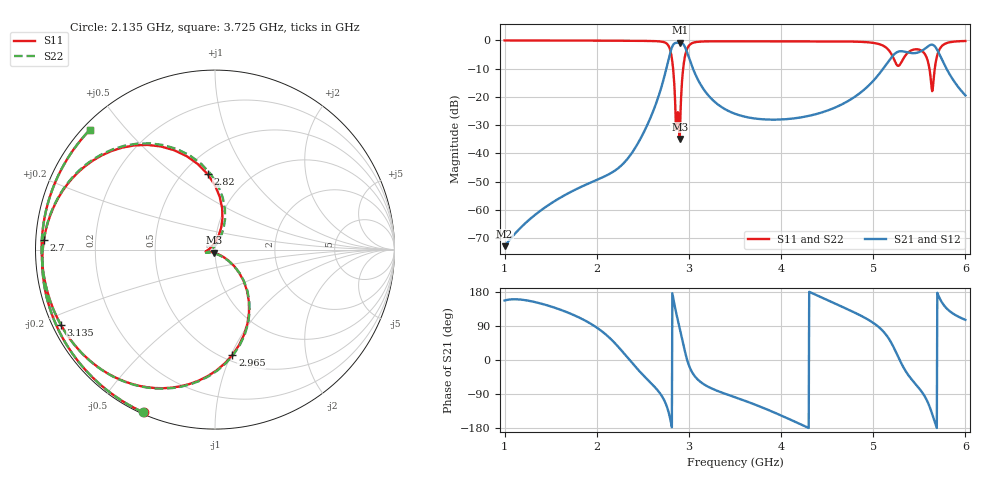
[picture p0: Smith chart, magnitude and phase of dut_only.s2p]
! Created Fri Aug  9 08:57:00 2024
! List of port names and net name(s): example Port n = <port_name> <net_name1> <net_name2> ...
! Port 1 = P1 P1
! Port 2 = P2 P2
# hz S ri R 50
! 2 Port Network Data from data block
! freq  reS11  imS11  reS21  imS21  reS12  imS12  reS22  imS22
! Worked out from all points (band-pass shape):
!   1001 points, 1 GHz to 6 GHz, reference 50 ohm
!   highest |S21| = -0.74 dB at 2.9 GHz (marker M1); lowest = -72.9 dB at 1 GHz (marker M2)
!   |S21| within 3 dB of the highest: 2.802 GHz to 2.975 GHz (172.7 MHz wide, 5.98 % of centre); 5.523 GHz to 5.701 GHz (177.3 MHz wide, 3.16 % of centre)
!   lowest |S11| = -34.9 dB at 2.9 GHz (marker M3), VSWR 1.04, Z = 49.2 - j1.62 ohm
!   |S11| at or under -10 dB: 2.828 GHz to 2.938 GHz (109.2 MHz wide, 3.79 % of centre); 5.61 GHz to 5.668 GHz (58.09 MHz wide, 1.03 % of centre)
!   |S22| runs from -36.3 to 0.0 dB; largest |S21 - S12| = 0
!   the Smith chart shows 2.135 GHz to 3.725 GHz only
!   S11 on the Smith chart (normalised r, x): 2.135 GHz: 0.01, -0.65; 2.7 GHz: 0.02, +0.03; 2.82 GHz: 0.65, +0.67; 2.965 GHz: 0.56, -1.01; 3.135 GHz: 0.02, -0.23; 3.725 GHz: 0.02, +0.40
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1e9  0.6992 -0.7139  -0.000209 8.88e-05  -0.000209 8.88e-05  0.6989 -0.7142
1.835e9  -0.0414 -0.9938  -0.000835 0.00243  -0.000835 0.00243  -0.0426 -0.9937
2.135e9  -0.3973 -0.9075  0.00219 0.0037  0.00219 0.0037  -0.399 -0.9068
2.41e9  -0.7286 -0.6629  0.0116 -0.00318  0.0116 -0.00318  -0.7307 -0.6606
2.67e9  -0.9621 -0.0813  0.0128 -0.1012  0.0128 -0.1012  -0.9627 -0.0736
2.7e9  -0.9531 0.0545  -0.00725 -0.1461  -0.00725 -0.1461  -0.9524 0.0637
2.78e9  -0.578 0.5488  -0.3508 -0.3136  -0.3508 -0.3136  -0.5662 0.5601
2.82e9  -0.0412 0.4203  -0.7848 0.0536  -0.7848 0.0536  -0.023 0.4201
2.875e9  -0.0494 -0.00898  -0.3145 0.857  -0.3145 0.857  -0.0455 -0.017
2.9e9  -0.00742 -0.0165  0.0884 0.9138  0.0884 0.9138  -0.0071 -0.0205
2.965e9  0.0968 -0.5874  0.6933 0.1755  0.6933 0.1755  0.1022 -0.5864
3.135e9  -0.8578 -0.4203  0.0796 -0.1356  0.0796 -0.1356  -0.8559 -0.4244
3.5e9  -0.8973 0.3574  -0.00726 -0.0497  -0.00726 -0.0497  -0.8982 0.3556
3.725e9  -0.6966 0.6678  -0.0196 -0.0363  -0.0196 -0.0363  -0.6977 0.6669
4.335e9  0.1072 0.9594  -0.0474 0.0028  -0.0474 0.0028  0.1068 0.9596
4.94e9  0.7849 0.4959  -0.0452 0.1462  -0.0452 0.1462  0.7854 0.4953
5.17e9  0.6664 0.00716  0.2447 0.3626  0.2447 0.3626  0.6656 0.00513
5.31e9  0.3416 0.2541  0.6312 -0.1264  0.6312 -0.1264  0.3398 0.2541
5.575e9  0.5128 -0.0658  -0.1676 -0.7247  -0.1676 -0.7247  0.5116 -0.0707
5.64e9  0.1099 0.0624  -0.6703 -0.5077  -0.6703 -0.5077  0.103 0.0574
5.735e9  0.4184 0.6387  -0.4563 0.2007  -0.4563 0.2007  0.4114 0.642
6e9  0.9535 0.2151  -0.0292 0.1021  -0.0292 0.1021  0.9528 0.2188
